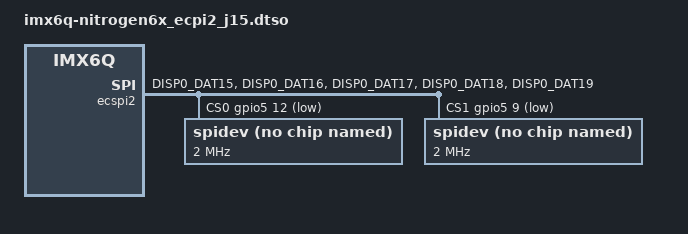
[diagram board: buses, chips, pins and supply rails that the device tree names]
// Enable ECSPI2 on J15
/dts-v1/;
/plugin/;

#include <dt-bindings/gpio/gpio.h>
#include <imx6q-pinfunc.h>

/ {
	compatible = "fsl,imx6q";

	fragment@0 {
		target = <&iomuxc>;
		__overlay__ {
			pinctrl_ecspi2: ecspi2grp {
				fsl,pins = <
					MX6QDL_PAD_DISP0_DAT15__GPIO5_IO09	0x0b0b1
					MX6QDL_PAD_DISP0_DAT16__ECSPI2_MOSI	0x100b1
					MX6QDL_PAD_DISP0_DAT17__ECSPI2_MISO	0x100b1
					MX6QDL_PAD_DISP0_DAT18__GPIO5_IO12	0x0b0b1
					MX6QDL_PAD_DISP0_DAT19__ECSPI2_SCLK	0x000b1
				>;
			};
		};
	};

	fragment@1 {
		target = <&ecspi2>;
		__overlay__ {
			pinctrl-names = "default";
			pinctrl-0 = <&pinctrl_ecspi2>;
			fsl,spi-num-chipselects = <2>;
			cs-gpios = <&gpio5 12 GPIO_ACTIVE_LOW>,
				<&gpio5 9 GPIO_ACTIVE_LOW>;
			status = "okay";

			spidev@0 {
				compatible = "spidev";
				spi-max-frequency = <2000000>;
				reg = <0>;
			};

			spidev@1 {
				compatible = "spidev";
				spi-max-frequency = <2000000>;
				reg = <1>;
			};
		};
	};
};
